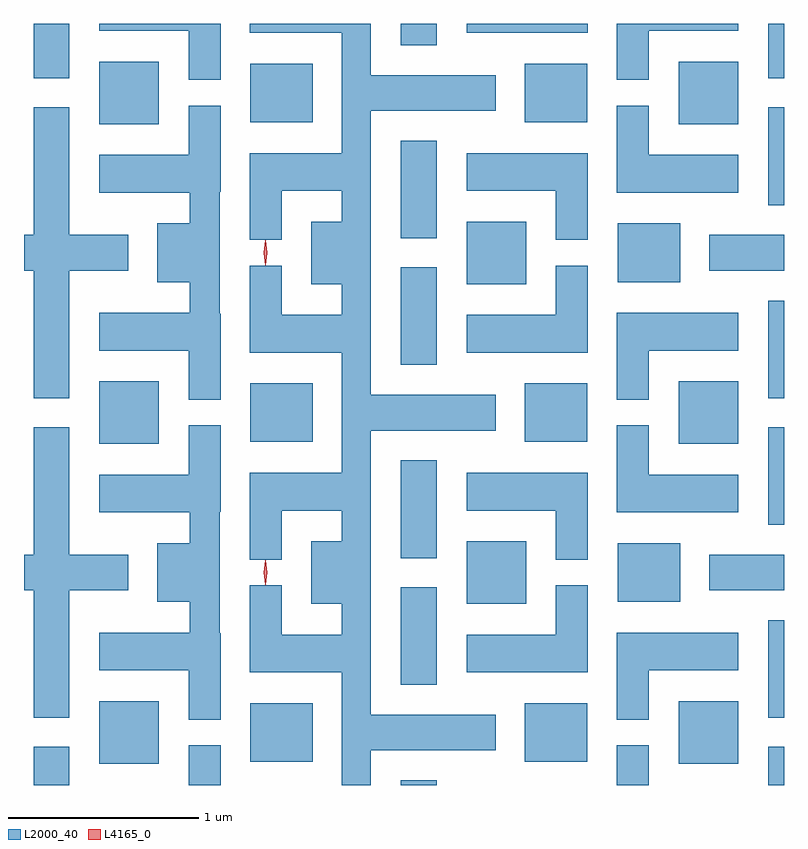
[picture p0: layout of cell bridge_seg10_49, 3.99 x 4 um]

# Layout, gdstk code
import gdstk
lib = gdstk.Library(unit=1e-6, precision=1e-09)
def R(c, l, rs):  # rectangles x0, y0, x1, y1
    for r in rs: c.add(gdstk.rectangle(r[:2], r[2:], *l))
def A(c, l, x, y, w, h, nx, ny, dx, dy):  # array of equal rectangles
    R(c, l, [(x+i*dx, y+j*dy, x+i*dx+w, y+j*dy+h) for i in range(nx) for j in range(ny)])
def P(c, l, *ps):  # polygons
    for p in ps: c.add(gdstk.Polygon(p, *l))
L2000_40 = (2000, 40)
L4165_0 = (4165, 0)

bridge_seg10_49 = lib.new_cell('bridge_seg10_49')
A(bridge_seg10_49, L2000_40, 1624.131, 2176.566, 0.313, 0.328, 1, 3, 0, 1.68)
A(bridge_seg10_49, L2000_40, 1627.176, 2176.566, 0.313, 0.328, 1, 3, 0, 1.68)
A(bridge_seg10_49, L2000_40, 1624.926, 2176.576, 0.328, 0.308, 1, 3, 0, 1.68)
A(bridge_seg10_49, L2000_40, 1626.366, 2176.576, 0.328, 0.308, 1, 3, 0, 1.68)
R(bridge_seg10_49, L2000_40, [(1623.786,2176.453,1623.974,2176.654), (1624.601,2176.453,1624.769,2176.663), (1625.716,2176.453,1625.904,2176.479), (1626.851,2176.453,1627.019,2176.663), (1627.646,2176.453,1627.729,2176.654), (1627.646,2176.806,1627.729,2177.319), (1625.716,2176.981,1625.904,2177.494), (1626.061,2177.406,1626.374,2177.734), (1626.856,2177.416,1627.184,2177.724), (1627.336,2177.476,1627.729,2177.664), (1625.716,2177.646,1625.904,2178.159), (1627.646,2177.821,1627.729,2178.334), (1627.646,2178.486,1627.729,2178.999), (1625.716,2178.661,1625.904,2179.174), (1626.061,2179.086,1626.374,2179.414), (1626.856,2179.096,1627.184,2179.404), (1627.336,2179.156,1627.729,2179.344), (1625.716,2179.326,1625.904,2179.839), (1627.646,2179.501,1627.729,2180.014), (1623.786,2180.166,1623.974,2180.453), (1627.646,2180.166,1627.729,2180.453), (1625.716,2180.341,1625.904,2180.453), (1626.061,2180.406,1626.699,2180.453)])
P(bridge_seg10_49, L2000_40, [(1625.559,2176.636),(1626.214,2176.636),(1626.214,2176.824),(1625.559,2176.824),(1625.559,2178.316),(1626.214,2178.316),(1626.214,2178.504),(1625.559,2178.504),(1625.559,2179.996),(1626.214,2179.996),(1626.214,2180.184),(1625.559,2180.184),(1625.559,2180.453),(1624.921,2180.453),(1624.921,2180.406),(1625.406,2180.406),(1625.406,2179.774),(1624.921,2179.774),(1624.921,2179.318),(1625.089,2179.318),(1625.089,2179.576),(1625.406,2179.576),(1625.406,2179.414),(1625.246,2179.414),(1625.246,2179.086),(1625.406,2179.086),(1625.406,2178.924),(1625.089,2178.924),(1625.089,2179.183),(1624.921,2179.183),(1624.921,2178.726),(1625.406,2178.726),(1625.406,2178.094),(1624.921,2178.094),(1624.921,2177.638),(1625.089,2177.638),(1625.089,2177.896),(1625.406,2177.896),(1625.406,2177.734),(1625.246,2177.734),(1625.246,2177.406),(1625.406,2177.406),(1625.406,2177.244),(1625.089,2177.244),(1625.089,2177.503),(1624.921,2177.503),(1624.921,2177.046),(1625.406,2177.046),(1625.406,2176.453),(1625.559,2176.453)],
  [(1627.019,2180.416),(1627.489,2180.416),(1627.489,2180.453),(1626.851,2180.453),(1626.851,2180.158),(1627.019,2180.158)],
  [(1624.769,2180.453),(1624.131,2180.453),(1624.131,2180.416),(1624.601,2180.416),(1624.601,2180.158),(1624.769,2180.158)],
  [(1627.489,2179.764),(1627.019,2179.764),(1627.019,2180.023),(1626.851,2180.023),(1626.851,2179.566),(1627.489,2179.566)],
  [(1624.769,2178.93),(1624.764,2178.93),(1624.764,2179.57),(1624.769,2179.57),(1624.769,2180.023),(1624.601,2180.023),(1624.601,2179.764),(1624.131,2179.764),(1624.131,2179.566),(1624.606,2179.566),(1624.606,2179.404),(1624.436,2179.404),(1624.436,2179.096),(1624.606,2179.096),(1624.606,2178.934),(1624.131,2178.934),(1624.131,2178.736),(1624.601,2178.736),(1624.601,2178.478),(1624.769,2178.478)],
  [(1623.974,2179.156),(1624.284,2179.156),(1624.284,2179.344),(1623.974,2179.344),(1623.974,2180.014),(1623.786,2180.014),(1623.786,2179.344),(1623.736,2179.344),(1623.736,2179.156),(1623.786,2179.156),(1623.786,2178.486),(1623.974,2178.486)],
  [(1626.699,2179.774),(1626.061,2179.774),(1626.061,2179.576),(1626.531,2179.576),(1626.531,2179.318),(1626.699,2179.318)],
  [(1626.699,2179.183),(1626.531,2179.183),(1626.531,2178.924),(1626.061,2178.924),(1626.061,2178.726),(1626.699,2178.726)],
  [(1627.019,2178.736),(1627.489,2178.736),(1627.489,2178.934),(1626.851,2178.934),(1626.851,2178.478),(1627.019,2178.478)],
  [(1624.769,2177.25),(1624.764,2177.25),(1624.764,2177.89),(1624.769,2177.89),(1624.769,2178.343),(1624.601,2178.343),(1624.601,2178.084),(1624.131,2178.084),(1624.131,2177.886),(1624.606,2177.886),(1624.606,2177.724),(1624.436,2177.724),(1624.436,2177.416),(1624.606,2177.416),(1624.606,2177.254),(1624.131,2177.254),(1624.131,2177.056),(1624.601,2177.056),(1624.601,2176.798),(1624.769,2176.798)],
  [(1627.489,2178.084),(1627.019,2178.084),(1627.019,2178.343),(1626.851,2178.343),(1626.851,2177.886),(1627.489,2177.886)],
  [(1623.974,2177.476),(1624.284,2177.476),(1624.284,2177.664),(1623.974,2177.664),(1623.974,2178.334),(1623.786,2178.334),(1623.786,2177.664),(1623.736,2177.664),(1623.736,2177.476),(1623.786,2177.476),(1623.786,2176.806),(1623.974,2176.806)],
  [(1626.699,2178.094),(1626.061,2178.094),(1626.061,2177.896),(1626.531,2177.896),(1626.531,2177.638),(1626.699,2177.638)],
  [(1626.699,2177.503),(1626.531,2177.503),(1626.531,2177.244),(1626.061,2177.244),(1626.061,2177.046),(1626.699,2177.046)],
  [(1627.019,2177.056),(1627.489,2177.056),(1627.489,2177.254),(1626.851,2177.254),(1626.851,2176.798),(1627.019,2176.798)])
P(bridge_seg10_49, L4165_0, [(1625.005,2177.504),(1625.004,2177.505),(1624.995,2177.57),(1625.004,2177.635),(1625.005,2177.636),(1625.005,2177.635),(1625.015,2177.57),(1625.005,2177.505)],
  [(1625.005,2179.184),(1625.004,2179.185),(1624.995,2179.25),(1625.004,2179.315),(1625.005,2179.316),(1625.005,2179.315),(1625.015,2179.25),(1625.005,2179.185)])

lib.write_gds('bridge_seg10_49.gds')
